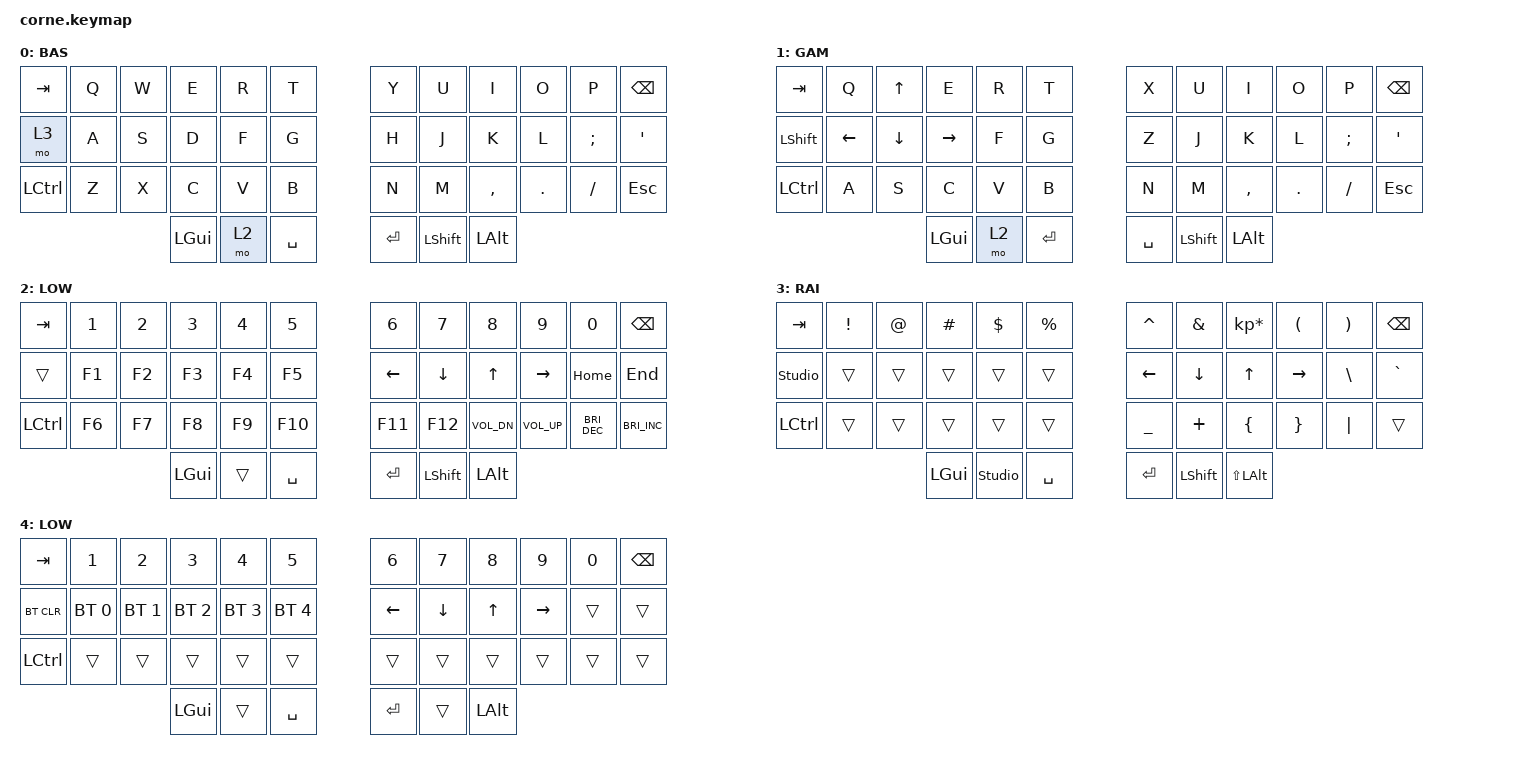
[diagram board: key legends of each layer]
/*
 * Copyright (c) 2020 The ZMK Contributors
 *
 * SPDX-License-Identifier: MIT
 */

#include <dt-bindings/led/led.h>
#include <dt-bindings/zmk/reset.h>
#include <behaviors.dtsi>
#include <dt-bindings/zmk/bt.h>
#include <dt-bindings/zmk/keys.h>
#include "keys_ru.h"

&led_strip { chain-length = <27>; };

/ {
    combos {
        compatible = "zmk,combos";

        to_connection_layer {
            bindings = <&mo 4>;
            key-positions = <40 12>;
            layers = <2>;
        };

        left_round_parentheses {
            bindings = <&kp LEFT_PARENTHESIS>;
            key-positions = <18 19>;
            timeout-ms = <50>;
        };

        right_round_parenthesis {
            bindings = <&kp RIGHT_PARENTHESIS>;
            key-positions = <19 20>;
            timeout-ms = <50>;
        };

        minus-combo {
            bindings = <&kp MINUS>;
            key-positions = <16 17>;
            layers = <2>;
        };

        plus_combo {
            bindings = <&kp PLUS>;
            key-positions = <15 16>;
            layers = <2>;
        };

        russian_ha {
            bindings = <&kp RU_CYRILLIC_HA>;
            key-positions = <10 9>;
            timeout-ms = <50>;
        };

        russian_hard_sign {
            bindings = <&kp RU_CYRILLIC_HARD_SIGN>;
            key-positions = <9 10 11>;
            timeout-ms = <50>;
        };

        under_score {
            bindings = <&kp UNDER>;
            key-positions = <4 5>;
            layers = <2>;
        };

        equal_sign {
            bindings = <&kp EQUAL>;
            key-positions = <3 4>;
            layers = <2>;
        };

        mult_sign {
            bindings = <&kp ASTRK>;
            key-positions = <14 15>;
        };

        squar_left {
            bindings = <&kp LEFT_BRACKET>;
            key-positions = <6 7>;
        };

        square_right {
            bindings = <&kp RIGHT_BRACKET>;
            key-positions = <7 8>;
        };

        figure_left {
            bindings = <&kp LEFT_BRACE>;
            key-positions = <30 31>;
        };

        figure_right {
            bindings = <&kp RIGHT_BRACE>;
            key-positions = <31 32>;
        };

        dollar {
            bindings = <&kp DOLLAR>;
            key-positions = <29 28>;
        };

        ampersand {
            bindings = <&kp AMPERSAND>;
            key-positions = <27 28>;
            layers = <2>;
        };

        right_slash {
            bindings = <&kp FSLH>;
            key-positions = <8 9>;
            layers = <2>;
        };

        pipe {
            bindings = <&kp PIPE>;
            key-positions = <20 21>;
            layers = <2>;
        };

        left_slash {
            bindings = <&kp BACKSLASH>;
            key-positions = <32 33>;
            layers = <2>;
        };

        percent {
            bindings = <&kp PERCENT>;
            key-positions = <26 27>;
            layers = <2>;
        };

        exclamation_mark {
            bindings = <&kp EXCLAMATION>;
            key-positions = <0 1>;
            layers = <2>;
        };

        sobaka {
            bindings = <&kp AT_SIGN>;
            key-positions = <12 13>;
            layers = <2>;
        };

        hashtag {
            bindings = <&kp POUND>;
            key-positions = <24 25>;
        };

        gaming_layer_tog {
            bindings = <&tog 1>;
            key-positions = <17 31 13>;
            layers = <2>;
        };

        question_mark {
            bindings = <&kp QMARK>;
            key-positions = <1 2>;
            layers = <2>;
        };

        left_bootloader {
            bindings = <&bootloader>;
            key-positions = <37 24 0 5 29>;
        };

        right_bootloader {
            bindings = <&bootloader>;
            key-positions = <40 30 6 11 35>;
        };
    };

    keymap {
        compatible = "zmk,keymap";

        default_layer {
            display-name = "BAS";

            // -----------------------------------------------------------------------------------------
            // |  TAB |  Q  |  W  |  E  |  R  |  T  |   |  Y  |  U   |  I  |  O  |  P  | BKSP |
            // | CTRL |  A  |  S  |  D  |  F  |  G  |   |  H  |  J   |  K  |  L  |  ;  |  '   |
            // | SHFT |  Z  |  X  |  C  |  V  |  B  |   |  N  |  M   |  ,  |  .  |  /  | ESC  |
            //                    | GUI | LWR | SPC |   | ENT | RSE  | ALT |

            bindings = <
&kp TAB    &kp Q  &kp W  &kp E     &kp R  &kp T        &kp Y    &kp U           &kp I      &kp O    &kp P     &kp BSPC
&mo 3      &kp A  &kp S  &kp D     &kp F  &kp G        &kp H    &kp J           &kp K      &kp L    &kp SEMI  &kp SQT
&kp LCTRL  &kp Z  &kp X  &kp C     &kp V  &kp B        &kp N    &kp M           &kp COMMA  &kp DOT  &kp FSLH  &kp ESC
                         &kp LGUI  &mo 2  &kp SPACE    &kp RET  &kp LEFT_SHIFT  &kp LALT
            >;
        };

        gaming_layer {
            display-name = "GAM";
            bindings = <
&kp TAB         &kp Q           &kp UP_ARROW    &kp E            &kp R  &kp T        &kp X      &kp U           &kp I      &kp O    &kp P     &kp BSPC
&kp LEFT_SHIFT  &kp LEFT_ARROW  &kp DOWN_ARROW  &kp RIGHT_ARROW  &kp F  &kp G        &kp Z      &kp J           &kp K      &kp L    &kp SEMI  &kp SQT
&kp LCTRL       &kp A           &kp S           &kp C            &kp V  &kp B        &kp N      &kp M           &kp COMMA  &kp DOT  &kp FSLH  &kp ESC
                                                &kp LGUI         &mo 2  &kp ENTER    &kp SPACE  &kp LEFT_SHIFT  &kp LALT
            >;
        };

        lower_layer {
            display-name = "LOW";

            // -----------------------------------------------------------------------------------------
            // |  TAB |  1  |  2  |  3  |  4  |  5  |   |  6  |  7  |  8  |  9  |  0  | BKSP |
            // | BTCLR| BT1 | BT2 | BT3 | BT4 | BT5 |   | LFT | DWN |  UP | RGT |     |      |
            // | SHFT |     |     |     |     |     |   |     |     |     |     |     |      |
            //                    | GUI |     | SPC |   | ENT |     | ALT |

            bindings = <
&kp TAB    &kp N1  &kp N2  &kp N3    &kp N4  &kp N5       &kp N6    &kp N7          &kp N8        &kp N9           &kp N0                &kp BSPC
&trans     &kp F1  &kp F2  &kp F3    &kp F4  &kp F5       &kp LEFT  &kp DOWN        &kp UP        &kp RIGHT        &kp HOME              &kp END
&kp LCTRL  &kp F6  &kp F7  &kp F8    &kp F9  &kp F10      &kp F11   &kp F12         &kp C_VOL_DN  &kp C_VOLUME_UP  &kp C_BRIGHTNESS_DEC  &kp C_BRIGHTNESS_INC
                           &kp LGUI  &trans  &kp SPACE    &kp RET   &kp LEFT_SHIFT  &kp LALT
            >;
        };

        raise_layer {
            display-name = "RAI";

            // -----------------------------------------------------------------------------------------
            // |  TAB |  !  |  @  |  #  |  $  |  %  |   |  ^  |  &  |  *  |  (  |  )  | BKSP |
            // | CTRL |     |     |     |     |     |   |  -  |  =  |  [  |  ]  |  \  |  `   |
            // | SHFT |     |     |     |     |     |   |  _  |  +  |  {  |  }  | "|" |  ~   |
            //                    | GUI |     | SPC |   | ENT |     | ALT |

            bindings = <
&kp TAB         &kp EXCL  &kp AT  &kp HASH  &kp DLLR        &kp PRCNT    &kp CARET  &kp AMPS        &kp KP_MULTIPLY   &kp LPAR         &kp RPAR  &kp BSPC
&studio_unlock  &trans    &trans  &trans    &trans          &trans       &kp LEFT   &kp DOWN        &kp UP            &kp RIGHT_ARROW  &kp BSLH  &kp GRAVE
&kp LCTRL       &trans    &trans  &trans    &trans          &trans       &kp UNDER  &kp PLUS        &kp LBRC          &kp RBRC         &kp PIPE  &trans
                                  &kp LGUI  &studio_unlock  &kp SPACE    &kp RET    &kp LEFT_SHIFT  &kp LS(LEFT_ALT)
            >;
        };

        connection_layer {
            display-name = "LOW";
            bindings = <
&kp TAB     &kp N1        &kp N2        &kp N3        &kp N4        &kp N5          &kp N6    &kp N7    &kp N8    &kp N9     &kp N0  &kp BSPC
&bt BT_CLR  &bt BT_SEL 0  &bt BT_SEL 1  &bt BT_SEL 2  &bt BT_SEL 3  &bt BT_SEL 4    &kp LEFT  &kp DOWN  &kp UP    &kp RIGHT  &trans  &trans
&kp LCTRL   &trans        &trans        &trans        &trans        &trans          &trans    &trans    &trans    &trans     &trans  &trans
                                        &kp LGUI      &trans        &kp SPACE       &kp RET   &trans    &kp LALT
            >;
        };
    };
};
